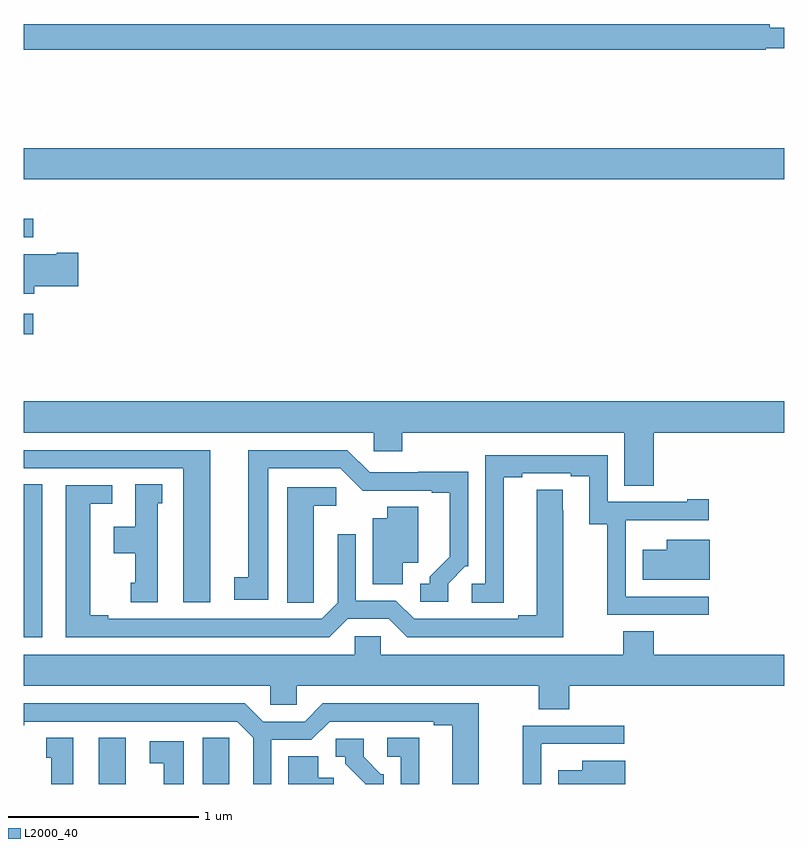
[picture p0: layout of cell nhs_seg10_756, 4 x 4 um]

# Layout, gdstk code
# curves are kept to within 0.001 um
import gdstk
lib = gdstk.Library(unit=1e-6, precision=1e-09)
def R(c, l, rs):  # rectangles x0, y0, x1, y1
    for r in rs: c.add(gdstk.rectangle(r[:2], r[2:], *l))
def P(c, l, *ps):  # polygons
    for p in ps: c.add(gdstk.Polygon(p, *l))
L2000_40 = (2000, 40)

nhs_seg10_756 = lib.new_cell('nhs_seg10_756')
R(nhs_seg10_756, L2000_40, [(149.396,1266.5,149.536,1266.742), (149,1267.272,149.098,1268.075), (149,1268.865,149.05,1268.973), (149,1269.375,149.05,1269.471), (149,1269.68,153,1269.844)])
P(nhs_seg10_756, L2000_40, [(152.902,1270.368),(153,1270.368),(153,1270.477),(152.924,1270.477),(152.924,1270.496),(149,1270.496),(149,1270.36),(152.902,1270.36)],
  [(149.056,1269.116),(149.287,1269.116),(149.287,1269.294),(149.174,1269.294),(149.174,1269.286),(149,1269.286),(149,1269.077),(149.056,1269.077)],
  [(152.312,1268.348),(153,1268.348),(153,1268.512),(149,1268.512),(149,1268.348),(150.84,1268.348),(150.84,1268.25),(150.992,1268.25),(150.992,1268.348),(152.159,1268.348),(152.159,1268.068),(152.312,1268.068)],
  [(149.98,1268.256),(149,1268.256),(149,1268.16),(149.84,1268.16),(149.84,1267.455),(149.98,1267.455)],
  [(151.233,1267.554),(151.323,1267.644),(151.338,1267.644),(151.338,1268.141),(151.075,1268.141),(151.075,1268.139),(150.819,1268.139),(150.702,1268.256),(150.182,1268.256),(150.182,1267.586),(150.108,1267.586),(150.108,1267.47),(150.286,1267.47),(150.286,1268.16),(150.666,1268.16),(150.784,1268.042),(151.145,1268.043),(151.145,1268.031),(151.241,1268.031),(151.241,1267.694),(151.136,1267.589),(151.136,1267.554),(151.086,1267.554),(151.086,1267.458),(151.233,1267.458)],
  [(152.602,1267.485),(152.166,1267.485),(152.166,1267.886),(152.168,1267.886),(152.168,1267.887),(152.602,1267.887),(152.602,1267.996),(152.489,1267.996),(152.489,1267.983),(152.07,1267.983),(152.07,1268.229),(151.428,1268.229),(151.428,1267.554),(151.356,1267.554),(151.356,1267.453),(151.525,1267.453),(151.525,1268.113),(151.621,1268.113),(151.621,1268.133),(151.877,1268.133),(151.877,1268.118),(151.973,1268.118),(151.973,1267.867),(152.068,1267.867),(152.068,1267.389),(152.602,1267.389)],
  [(149.704,1267.977),(149.728,1267.977),(149.728,1268.075),(149.588,1268.075),(149.588,1267.852),(149.474,1267.852),(149.474,1267.712),(149.588,1267.712),(149.588,1267.557),(149.564,1267.557),(149.564,1267.455),(149.704,1267.455)],
  [(150.703,1267.368),(150.921,1267.368),(151.017,1267.272),(151.837,1267.272),(151.836,1268.048),(151.697,1268.048),(151.697,1267.388),(151.601,1267.388),(151.601,1267.368),(151.053,1267.368),(150.957,1267.464),(150.747,1267.464),(150.747,1267.813),(150.651,1267.813),(150.651,1267.452),(150.567,1267.368),(149.446,1267.368),(149.446,1267.388),(149.35,1267.388),(149.35,1267.974),(149.467,1267.974),(149.467,1268.07),(149.222,1268.07),(149.222,1267.272),(150.607,1267.272)],
  [(150.525,1267.561),(150.526,1267.561),(150.526,1267.964),(150.643,1267.964),(150.643,1268.061),(150.386,1268.061),(150.386,1267.453),(150.525,1267.453)],
  [(150.994,1267.664),(151.075,1267.664),(151.075,1267.958),(150.911,1267.958),(150.911,1267.897),(150.836,1267.897),(150.836,1267.549),(150.994,1267.549)],
  [(152.608,1267.783),(152.381,1267.783),(152.381,1267.732),(152.256,1267.732),(152.256,1267.574),(152.608,1267.574)],
  [(151.868,1267.016),(153,1267.016),(153,1267.18),(152.312,1267.18),(152.312,1267.304),(152.152,1267.304),(152.152,1267.18),(150.879,1267.18),(150.879,1267.278),(150.741,1267.278),(150.741,1267.18),(149,1267.18),(149,1267.016),(150.297,1267.016),(150.297,1266.918),(150.435,1266.918),(150.435,1267.016),(151.708,1267.016),(151.708,1266.892),(151.868,1266.892)],
  [(150.303,1266.732),(150.513,1266.732),(150.609,1266.828),(151.157,1266.828),(151.157,1266.808),(151.253,1266.808),(151.253,1266.5),(151.393,1266.5),(151.393,1266.924),(150.573,1266.924),(150.477,1266.828),(150.259,1266.828),(150.163,1266.924),(149,1266.924),(149,1266.808),(149.002,1266.808),(149.002,1266.828),(150.123,1266.828),(150.207,1266.744),(150.207,1266.5),(150.303,1266.5)],
  [(151.722,1266.71),(151.724,1266.71),(151.724,1266.711),(152.158,1266.711),(152.158,1266.807),(151.624,1266.807),(151.624,1266.5),(151.722,1266.5)],
  [(151.081,1266.743),(150.912,1266.743),(150.912,1266.642),(150.984,1266.642),(150.984,1266.5),(151.081,1266.5)],
  [(150.082,1266.635),(150.081,1266.635),(150.081,1266.743),(149.942,1266.743),(149.942,1266.5),(150.082,1266.5)],
  [(149.26,1266.742),(149.12,1266.742),(149.12,1266.639),(149.144,1266.639),(149.144,1266.5),(149.26,1266.5)],
  [(150.894,1266.552),(150.879,1266.552),(150.789,1266.642),(150.789,1266.738),(150.642,1266.738),(150.642,1266.642),(150.692,1266.642),(150.692,1266.607),(150.797,1266.502),(150.797,1266.5),(150.894,1266.5)],
  [(149.842,1266.726),(149.664,1266.726),(149.664,1266.61),(149.738,1266.61),(149.738,1266.5),(149.842,1266.5)],
  [(150.631,1266.532),(150.55,1266.532),(150.55,1266.647),(150.392,1266.647),(150.392,1266.5),(150.631,1266.5)],
  [(152.164,1266.622),(151.937,1266.622),(151.937,1266.571),(151.812,1266.571),(151.812,1266.5),(152.164,1266.5)])

lib.write_gds('nhs_seg10_756.gds')
